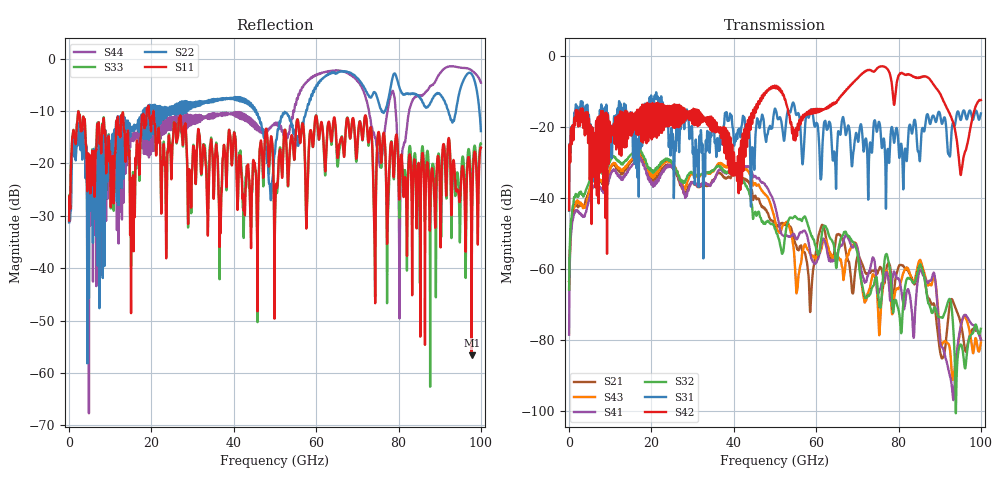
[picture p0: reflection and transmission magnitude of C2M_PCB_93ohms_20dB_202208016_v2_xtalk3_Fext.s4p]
! Info: Touchstone file created by Circ.  Input file=Intel_C2M_200G_7p0in_202208016_staggered.circ
# Hz S RI R 50
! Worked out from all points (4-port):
!   10000 points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, 10 MHz to 100 GHz, reference 50 ohm
!   strongest paths, dB at 10 MHz, 25.01 GHz, 50.01 GHz, 75.01 GHz, 100 GHz:
!     S42: -43.5, -16.7, -8.5, -3.4, -12.5
!     S31: -43.7, -25.5, -14.9, -19.8, -16.2
!     S32: -66.0, -29.9, -48.8, -66.2, -76.9
!     S41: -78.6, -31.4, -42.3, -66.6, -79.9
!     S43: -65.7, -30.0, -46.5, -71.1, -80.8
!     S21: -63.7, -31.5, -47.3, -60.8, -80.0
!   lowest |S11| = -56.6 dB at 97.76 GHz (marker M1), VSWR 1.00, Z = 50.1 - j0.0533 ohm
!   |S11| at or under -10 dB: start of sweep to 18.85 GHz; 19.39 GHz to 20.47 GHz (1.082 GHz wide, 5.43 % of centre); 20.52 GHz to end of sweep
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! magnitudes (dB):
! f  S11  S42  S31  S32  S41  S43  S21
! 10 MHz  -30.9  -43.5  -43.7  -66.0  -78.6  -65.7  -63.7
! 1.48 GHz  -15.5  -19.2  -16.0  -39.4  -43.8  -42.0  -41.9
! 16.96 GHz  -19.7  -15.3  -30.2  -26.1  -28.6  -27.3  -27.6
! 66.24 GHz  -15.0  -11.1  -18.5  -51.0  -53.4  -59.3  -51.5
! 80.36 GHz  -21.8  -4.9  -26.8  -74.7  -64.1  -64.9  -58.9
! 97.76 GHz  -56.6  -18.6  -17.0  -78.4  -75.6  -81.4  -77.4
! 100 GHz  -16.9  -12.5  -16.2  -76.9  -79.9  -80.8  -80.0
